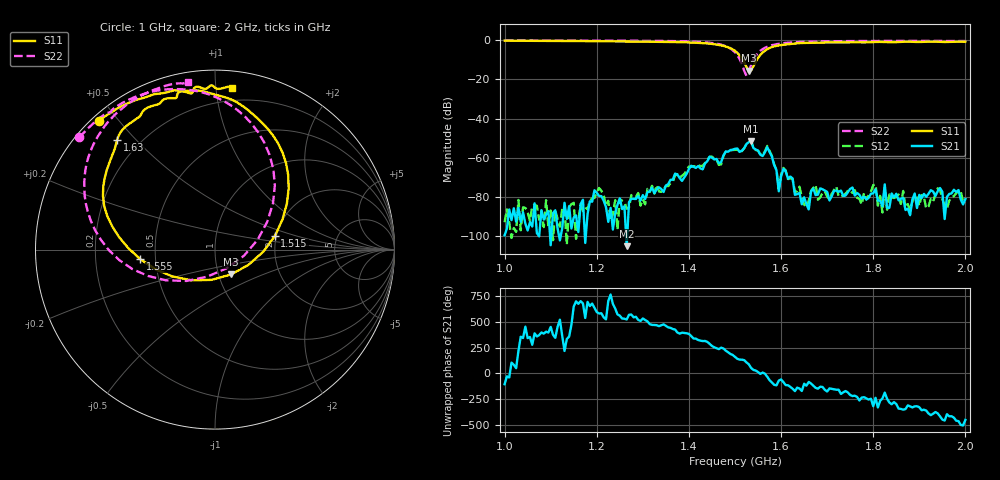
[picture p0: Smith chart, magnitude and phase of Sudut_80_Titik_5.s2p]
# Hz S RI R 50
! CMT, C1220, 16058040, 17.2.0/1
! Date: 14/08/2018 11:47:12
! Data: Format (Calibration Info)
! Freq  S11: Re/Im (F2)  S21: Re/Im (F2)  S12: Re/Im (F2)  S22: Re/Im (F2)
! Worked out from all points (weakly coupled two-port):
!   201 points, 1 GHz to 2 GHz, reference 50 ohm
!   highest |S21| = -51.42 dB at 1.535 GHz (marker M1); lowest = -105.1 dB at 1.265 GHz (marker M2)
!   lowest |S11| = -15.7 dB at 1.53 GHz (marker M3), VSWR 1.39, Z = 57.3 - j16.3 ohm
!   |S11| at or under -10 dB: 1.517 GHz to 1.548 GHz (31.03 MHz wide, 2.02 % of centre)
!   |S22| runs from -18.2 to -0.2 dB; largest |S21 - S12| = 0.00023
!   S11 on the Smith chart (normalised r, x): 1 GHz: 0.02, +0.44; 1.515 GHz: 1.96, +0.33; 1.555 GHz: 0.41, -0.05; 1.63 GHz: 0.12, +0.44; 2 GHz: 0.11, +1.11
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1e9  -0.6488 0.7152  -2.82e-06 -1.01e-05  -1.3e-05 1.84e-05  -0.7552 0.6246
1.17e9  -0.468 0.8228  6.27e-05 -5.68e-05  4.35e-05 -2.7e-06  -0.6182 0.751
1.265e9  -0.33 0.8671  -5.27e-06 1.74e-06  -4.82e-05 1.34e-05  -0.5167 0.8167
1.335e9  -0.2037 0.8859  -2.15e-05 0.000175  -5.61e-06 0.000138  -0.401 0.8659
1.45e9  0.1843 0.7772  -9e-05 -0.001  -0.000196 -0.00105  0.0212 0.8416
1.5e9  0.4106 0.3398  -0.00158 0.000595  -0.00148 0.000577  0.3334 0.3568
1.515e9  0.3332 0.0753  -0.00101 0.00113  -0.00102 0.00105  0.2381 0.0556
1.53e9  0.089 -0.1387  0.000125 0.00248  8.39e-05 0.00254  -0.0443 -0.151
1.535e9  -0.0194 -0.1686  0.00168 0.00209  0.00172 0.00211  -0.1578 -0.1745
1.555e9  -0.4156 -0.0536  0.00119 -0.000122  0.00122 -0.000113  -0.5327 -0.059
1.57e9  -0.5717 0.1273  0.00155 -0.00101  0.00167 -0.00111  -0.6682 0.1086
1.59e9  -0.6228 0.3494  -0.000215 -0.000429  -0.000207 -0.000443  -0.7265 0.3037
1.595e9  -0.6149 0.3977  4.46e-05 -0.000132  5.82e-07 -0.000157  -0.7284 0.3438
1.605e9  -0.5896 0.4814  4.15e-05 -0.000514  4.93e-05 -0.000546  -0.7257 0.4136
1.63e9  -0.5446 0.613  -0.000112 -1.47e-05  -0.000134 6.08e-07  -0.6954 0.5431
1.67e9  -0.4311 0.7323  -8.39e-05 -0.000142  -1.68e-05 -0.000172  -0.626 0.6719
1.785e9  -0.2142 0.8471  -3.82e-05 7.75e-05  -3.09e-05 7.97e-05  -0.4466 0.8368
1.805e9  -0.203 0.8758  -8.45e-05 0.000132  5.31e-05 0.000201  -0.4181 0.8535
1.82e9  -0.1723 0.8802  -2.63e-05 5.18e-05  3.84e-05 1.21e-05  -0.3975 0.8646
1.825e9  -0.1592 0.8768  -0.000207 2.59e-05  -2.69e-05 0.000173  -0.3909 0.8679
1.835e9  -0.1373 0.8701  1.18e-05 5.15e-05  4.76e-05 0.000106  -0.3778 0.8744
2e9  0.0968 0.9023  -3e-06 -8.85e-05  -5.12e-05 -4.66e-05  -0.1515 0.9342
